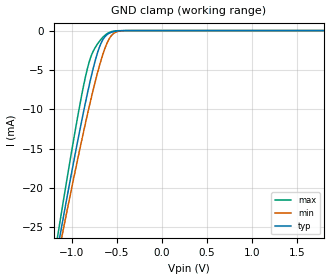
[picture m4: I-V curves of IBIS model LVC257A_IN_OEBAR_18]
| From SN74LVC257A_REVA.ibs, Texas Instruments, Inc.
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[Model]   LVC257A_IN_OEBAR_18
Model_type  Input
Vinl=0.5775
Vinh=1.2675
| variable   typ   min   max
C_comp   2.70pF   2.23pF   3.19pF
[Temperature Range]   40   100   -40
| Ambient temperature   25   85   -40
[Voltage range]   1.8   1.65   1.95
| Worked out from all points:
|   GND clamp passes 1 mA (typ) near -0.64 V on its own axis
[GND Clamp]
| LVC257A_IN_OEBAR_18
|   Voltage   I(typ)   I(min)   I(max)
-5.5V     -338.9mA   -314.3mA   -369mA
-1.16V    -28.09mA   -29.24mA   -26.56mA
-1.12V    -25.56mA   -26.92mA   -23.71mA
-1.085V   -23.36mA   -24.91mA   -21.25mA
-925mV    -13.65mA   -15.98mA   -10.52mA
-820mV    -7.797mA   -10.48mA   -4.654mA
-770mV    -5.293mA   -8.026mA   -2.891mA
-695mV    -2.253mA   -4.666mA   -1.432mA
-600mV    -473.7uA   -1.449mA   -358.4uA
-535mV    -136.2uA   -379.8uA   -78.5uA
-445mV    -16.2uA    -36.49uA   -4.833uA
1.8V      41.95pA    147.4pA    23.47pA
